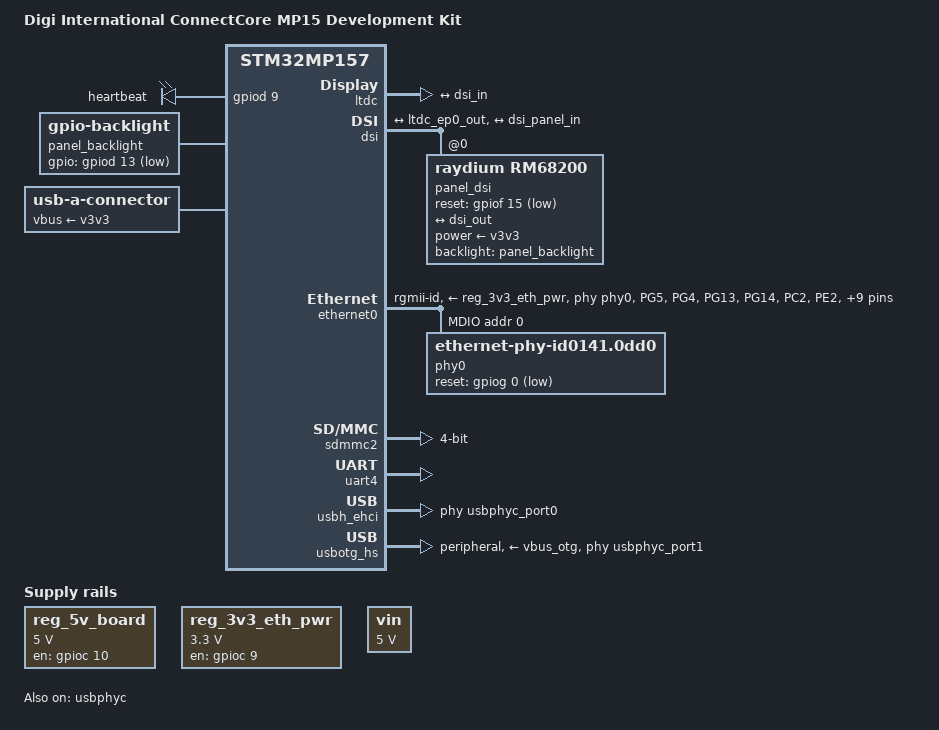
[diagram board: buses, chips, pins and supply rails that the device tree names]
// SPDX-License-Identifier: (GPL-2.0+ OR BSD-3-Clause)
/*
 * Copyright (C) STMicroelectronics 2019 - All Rights Reserved
 * Copyright (C) 2022, Digi International Inc - All Rights Reserved
 */
/dts-v1/;

#include "stm32mp157.dtsi"
#include "stm32mp15xc.dtsi"
#include "stm32mp15-pinctrl.dtsi"
#include "stm32mp15xxac-pinctrl.dtsi"
#include "ccmp15.dtsi"

/ {
	model = "Digi International ConnectCore MP15 Development Kit";
	compatible = "digi,ccmp15-dvk", "digi,ccmp15", "digi,ccmp1";

	chosen {
		#address-cells = <1>;
		#size-cells = <1>;
		ranges;
		stdout-path = "serial0:115200n8";

		framebuffer {
			compatible = "simple-framebuffer";
			clocks = <&rcc LTDC_PX>;
			status = "disabled";
		};
	};

	aliases {
		serial0 = &uart4;
	};

	regulators {
		compatible = "simple-bus";
		#address-cells = <1>;
		#size-cells = <0>;

		reg_5v_board: regulator@1 {
			compatible = "regulator-fixed";
			reg = <1>;
			regulator-name = "5v_board";
			regulator-min-microvolt = <5000000>;
			regulator-max-microvolt = <5000000>;
			gpio = <&gpioc 10 GPIO_ACTIVE_HIGH>;
			enable-active-high;
			status = "okay";
		};

		reg_3v3_eth_pwr: regulator@2 {
			compatible = "regulator-fixed";
			reg = <2>;
			regulator-name = "3v3_eth_pwr";
			regulator-min-microvolt = <3300000>;
			regulator-max-microvolt = <3300000>;
			gpio = <&gpioc 9 GPIO_ACTIVE_HIGH>;
			enable-active-high;
			status = "okay";
		};
	};

	led {
		compatible = "gpio-leds";
		led-blue {
			label = "heartbeat";
			gpios = <&gpiod 9 GPIO_ACTIVE_HIGH>;
			linux,default-trigger = "heartbeat";
			default-state = "off";
		};
	};

	panel_backlight: panel-backlight {
		compatible = "gpio-backlight";
		gpios = <&gpiod 13 GPIO_ACTIVE_LOW>;
		default-on;
		status = "okay";
	};

	usb_phy_tuning: usb-phy-tuning {
		st,hs-dc-level = <2>;
		st,fs-rftime-tuning;
		st,hs-rftime-reduction;
		st,hs-current-trim = <15>;
		st,hs-impedance-trim = <1>;
		st,squelch-level = <3>;
		st,hs-rx-offset = <2>;
		st,no-lsfs-sc;
	};

	vin: vin {
		compatible = "regulator-fixed";
		regulator-name = "vin";
		regulator-min-microvolt = <5000000>;
		regulator-max-microvolt = <5000000>;
		regulator-always-on;
	};
};

&ltdc {
	status = "okay";

	port {
		ltdc_ep0_out: endpoint@0 {
			reg = <0>;
			remote-endpoint = <&dsi_in>;
		};
	};
};

&dsi {
	#address-cells = <1>;
	#size-cells = <0>;
	status = "okay";

	ports {
		#address-cells = <1>;
		#size-cells = <0>;

		port@0 {
			reg = <0>;
			dsi_in: endpoint {
				remote-endpoint = <&ltdc_ep0_out>;
			};
		};

		port@1 {
			reg = <1>;
			dsi_out: endpoint {
				remote-endpoint = <&dsi_panel_in>;
			};
		};
	};

	panel_dsi: panel-dsi@0 {
		compatible = "raydium,rm68200";
		reg = <0>;
		reset-gpios = <&gpiof 15 GPIO_ACTIVE_LOW>;
		backlight = <&panel_backlight>;
		power-supply = <&v3v3>;
		status = "okay";

		port {
			dsi_panel_in: endpoint {
				remote-endpoint = <&dsi_out>;
			};
		};
	};
};

/* 10/100 Ethernet */
/*&ethernet0 {
	status = "okay";
	pinctrl-0 = <&ethernet0_rgmii_pins_a>;
	pinctrl-1 = <&ethernet0_rgmii_sleep_pins_a>;
	pinctrl-names = "default", "sleep";
	phy-mode = "rgmii-id";
	max-speed = <1000>;
	phy-handle = <&phy0>;
	phy-supply = <&reg_3v3_eth_pwr>;
	nvmem-cells = <&ethernet_mac_address>;
	nvmem-cell-names = "mac-address";

	mdio0 {
		#address-cells = <1>;
		#size-cells = <0>;
		compatible = "snps,dwmac-mdio";
		phy0: ethernet-phy@0 {
			reg = <0>;
		};
	};
};*/

/* 10/100/1000 Ethernet */
&ethernet0 {
	status = "okay";
	pinctrl-0 = <&ccmp15_ethernet0_rgmii_pins>;
	pinctrl-1 = <&ccmp15_ethernet0_rgmii_sleep_pins>;
	pinctrl-names = "default", "sleep";
	phy-mode = "rgmii-id";
	max-speed = <1000>;
	phy-handle = <&phy0>;
	phy-supply = <&reg_3v3_eth_pwr>;

	mdio0 {
		#address-cells = <1>;
		#size-cells = <0>;
		compatible = "snps,dwmac-mdio";

		phy0: ethernet-phy@0 {
			reg = <0>;
			compatible = "ethernet-phy-id0141.0dd0"; /* PHY ID for Marvell 88E1512 */
			reset-gpios = <&gpiog 0 (GPIO_ACTIVE_LOW | GPIO_PULL_UP)>;
			reset-assert-us = <1000>;
			reset-deassert-us = <2000>;
		};
	};
};

/* Micro SD */
&sdmmc2 {
	pinctrl-names = "default", "opendrain", "sleep";
	pinctrl-0 = <&sdmmc2_b4_pins_a>;
	pinctrl-1 = <&sdmmc2_b4_od_pins_a>;
	pinctrl-2 = <&sdmmc2_b4_sleep_pins_a>;
	broken-cd;
	disable-wp;
	no-1-8-v;
	bus-width = <4>;
	/* Power option via 0-ohm resistor */
	/* vmmc-supply = <&vdd_sd>; */
	sd-uhs-sdr12;
	sd-uhs-sdr25;
	sd-uhs-sdr50;
	sd-uhs-ddr50;
	status = "okay";
};

&uart4 {
	pinctrl-names = "default", "sleep", "idle";
	pinctrl-0 = <&uart4_pins_a>;
	pinctrl-1 = <&uart4_sleep_pins_a>;
	pinctrl-2 = <&uart4_idle_pins_a>;
	/delete-property/dmas;
	/delete-property/dma-names;
	status = "okay";
};

&usbh_ehci {
	phys = <&usbphyc_port0>;
	status = "okay";
};

&usbotg_hs {
	pinctrl-0 = <&usbotg_hs_pins_a>;
	pinctrl-names = "default";
	u-boot,force-b-session-valid;
	dr_mode = "peripheral";
	phys = <&usbphyc_port1 0>;
	phy-names = "usb2-phy";
	vbus-supply = <&vbus_otg>;
	status = "okay";
};

&usbphyc {
	status = "okay";
};

&usbphyc_port0 {
	phy-supply = <&vdd_usb>;
	st,phy-tuning = <&usb_phy_tuning>;

	/*
	 * Hack to keep hub active until all connected devices are suspended
	 * otherwise the hub will be powered off as soon as the v3v3 is disabled
	 * and it can disturb connected devices.
	 */
	connector {
		compatible = "usb-a-connector";
		vbus-supply = <&v3v3>;
	};
};

&usbphyc_port1 {
	st,phy-tuning = <&usb_phy_tuning>;
	phy-supply = <&vdd_usb>;
};

&pinctrl {
	ccmp15_ethernet0_rgmii_pins: rgmii-1 {
		pins1 {
			pinmux = <STM32_PINMUX('G', 5, AF11)>, /* ETH_RGMII_CLK125 */
				 <STM32_PINMUX('G', 4, AF11)>, /* ETH_RGMII_GTX_CLK */
				 <STM32_PINMUX('G', 13, AF11)>, /* ETH_RGMII_TXD0 */
				 <STM32_PINMUX('G', 14, AF11)>, /* ETH_RGMII_TXD1 */
				 <STM32_PINMUX('C', 2, AF11)>, /* ETH_RGMII_TXD2 */
				 <STM32_PINMUX('E', 2, AF11)>, /* ETH_RGMII_TXD3 */
				 <STM32_PINMUX('B', 11, AF11)>, /* ETH_RGMII_TX_CTL */
				 <STM32_PINMUX('C', 1, AF11)>; /* ETH_MDC */
			bias-disable;
			drive-push-pull;
			slew-rate = <2>;
		};
		pins2 {
			pinmux = <STM32_PINMUX('A', 2, AF11)>; /* ETH_MDIO */
			bias-disable;
			drive-push-pull;
			slew-rate = <0>;
		};
		pins3 {
			pinmux = <STM32_PINMUX('C', 4, AF11)>, /* ETH_RGMII_RXD0 */
				 <STM32_PINMUX('C', 5, AF11)>, /* ETH_RGMII_RXD1 */
				 <STM32_PINMUX('H', 6, AF11)>, /* ETH_RGMII_RXD2 */
				 <STM32_PINMUX('H', 7, AF11)>, /* ETH_RGMII_RXD3 */
				 <STM32_PINMUX('A', 1, AF11)>, /* ETH_RGMII_RX_CLK */
				 <STM32_PINMUX('A', 7, AF11)>; /* ETH_RGMII_RX_CTL */
			bias-disable;
		};
	};

	ccmp15_ethernet0_rgmii_sleep_pins: rgmii-sleep-1 {
		pins1 {
			pinmux = <STM32_PINMUX('G', 5, ANALOG)>, /* ETH_RGMII_CLK125 */
				 <STM32_PINMUX('G', 4, ANALOG)>, /* ETH_RGMII_GTX_CLK */
				 <STM32_PINMUX('G', 13, ANALOG)>, /* ETH_RGMII_TXD0 */
				 <STM32_PINMUX('G', 14, ANALOG)>, /* ETH_RGMII_TXD1 */
				 <STM32_PINMUX('C', 2, ANALOG)>, /* ETH_RGMII_TXD2 */
				 <STM32_PINMUX('E', 2, ANALOG)>, /* ETH_RGMII_TXD3 */
				 <STM32_PINMUX('B', 11, ANALOG)>, /* ETH_RGMII_TX_CTL */
				 <STM32_PINMUX('C', 1, ANALOG)>, /* ETH_MDC */
				 <STM32_PINMUX('A', 2, ANALOG)>, /* ETH_MDIO */
				 <STM32_PINMUX('C', 4, ANALOG)>, /* ETH_RGMII_RXD0 */
				 <STM32_PINMUX('C', 5, ANALOG)>, /* ETH_RGMII_RXD1 */
				 <STM32_PINMUX('H', 6, ANALOG)>, /* ETH_RGMII_RXD2 */
				 <STM32_PINMUX('H', 7, ANALOG)>, /* ETH_RGMII_RXD3 */
				 <STM32_PINMUX('A', 1, ANALOG)>, /* ETH_RGMII_RX_CLK */
				 <STM32_PINMUX('A', 7, ANALOG)>; /* ETH_RGMII_RX_CTL */
		 };
	};
};
